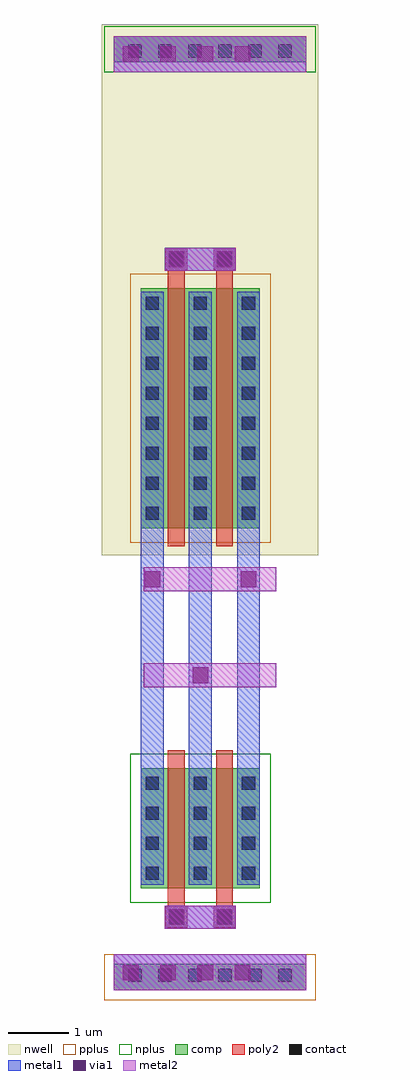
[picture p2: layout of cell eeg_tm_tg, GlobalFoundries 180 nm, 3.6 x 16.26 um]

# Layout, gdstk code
import gdstk
lib = gdstk.Library(unit=1e-6, precision=1e-09)
def R(c, l, rs):  # rectangles x0, y0, x1, y1
    for r in rs: c.add(gdstk.rectangle(r[:2], r[2:], *l))
def A(c, l, x, y, w, h, nx, ny, dx, dy):  # array of equal rectangles
    R(c, l, [(x+i*dx, y+j*dy, x+i*dx+w, y+j*dy+h) for i in range(nx) for j in range(ny)])
nwell = (21, 0)
comp = (22, 0)
poly2 = (30, 0)
pplus = (31, 0)
nplus = (32, 0)
contact = (33, 0)
metal1 = (34, 0)
via1 = (35, 0)
metal2 = (36, 0)

eeg_tm_tg = lib.new_cell('eeg_tm_tg')
R(eeg_tm_tg, nwell, [(-0.2,7.25,3.4,16.1)])
R(eeg_tm_tg, comp, [(0,0,3.2,0.44), (0.45,1.7,2.43,3.7), (0.45,7.7,2.43,11.7), (0,15.46,3.2,15.9)])
R(eeg_tm_tg, poly2, [(0.86,1.04,1.22,1.4), (0.9,1.04,1.18,4), (1.66,1.04,2.02,1.4), (1.7,1.04,1.98,4), (0.9,7.4,1.18,12.36), (1.7,7.4,1.98,12.36), (0.86,12,1.22,12.36), (1.66,12,2.02,12.36)])
R(eeg_tm_tg, pplus, [(-0.16,-0.16,3.36,0.6), (0.27,7.46,2.61,11.94)])
R(eeg_tm_tg, nplus, [(0.27,1.46,2.61,3.94), (-0.16,15.3,3.36,16.06)])
A(eeg_tm_tg, contact, 0.24, 0.14, 0.22, 0.22, 6, 2, 0.5, 15.4)
A(eeg_tm_tg, contact, 0.53, 1.84, 0.22, 0.22, 3, 4, 0.8, 0.5)
A(eeg_tm_tg, contact, 0.53, 7.84, 0.22, 0.22, 3, 8, 0.8, 0.5)
R(eeg_tm_tg, contact, [(0.93,1.11,1.15,1.33), (1.73,1.11,1.95,1.33), (0.93,12.07,1.15,12.29), (1.73,12.07,1.95,12.29)])
R(eeg_tm_tg, metal1, [(0,0,3.2,0.6), (0,0,3.2,0.44), (0.85,1.03,2.03,1.41), (0.45,1.76,0.83,7.05), (1.25,1.76,1.63,5.45), (2.05,1.76,2.43,7.05), (1.25,5.05,1.63,11.64), (0.45,6.65,0.83,11.64), (2.05,6.65,2.43,11.64), (0.85,11.99,2.03,12.37), (0,15.3,3.2,15.9), (0,15.46,3.2,15.9)])
A(eeg_tm_tg, via1, 0.15, 0.17, 0.26, 0.26, 4, 2, 0.62, 15.3)
R(eeg_tm_tg, via1, [(0.91,1.09,1.17,1.35), (1.71,1.09,1.97,1.35), (1.31,5.12,1.57,5.38), (1.31,5.12,1.57,5.38), (0.51,6.72,0.77,6.98), (0.51,6.72,0.77,6.98), (2.11,6.72,2.37,6.98), (2.11,6.72,2.37,6.98), (0.91,12.05,1.17,12.31), (1.71,12.05,1.97,12.31)])
R(eeg_tm_tg, metal2, [(0,0,3.2,0.6), (0.85,1.03,2.03,1.41), (0.5,5.05,2.7,5.45), (0.5,6.65,2.7,7.05), (0.85,11.99,2.03,12.37), (0,15.3,3.2,15.9)])

lib.write_gds('eeg_tm_tg.gds')
